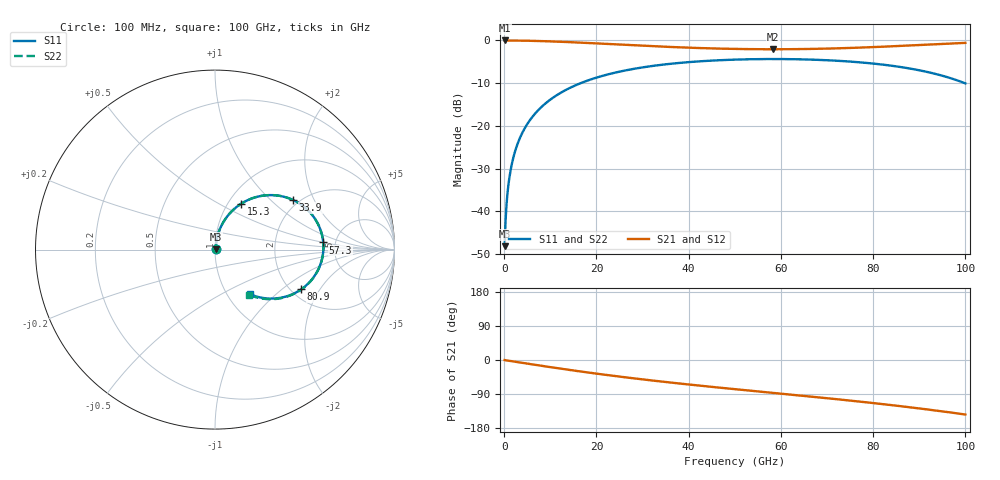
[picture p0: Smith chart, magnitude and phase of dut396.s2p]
! Touchstone file exported from HFSS 2026.1.0
!  File:  C:/ffzhzh/LocalFiles/Ansys_Project_Files/temp_train_RDL_396_1783503966_44152.aedt
!  Generated:  05:47:20 PM Jul  8, 2026
!  Design:  RDL
!  Project:  temp_train_RDL_396_1783503966_44152
! Variables:
!  h_bsmrdl = 2um
!  h_ox = 20um
!  h_rdl = 5um
!  h_sub = 80um
!  h_tmrdl = 2.64um
!  h_tsv = 80um
!  h_via = 3um
!  l_bsmrdl = 300um
!  l_sub = 878.44um
!  l_tmrdl = 478.44um
!  m_sub = 200um
!  pitch = 53.93um
!  r_tsv = 6um
!  s_tmrdl = 10um
!  w_bsmrdl = 18um
!  w_sub = 500um
!  w_tmrdl = 21.93um
!  x_tsv_center1 = 489.405um
!  x_tsv_center2 = 807.405um
!  x_tsv_center3 = 1307.775um
!  x_tsv_center4 = 1625.775um
!  x_tsv_center5 = 2126.145um
!  x_tsv_center6 = 2444.145um
# GHz S MA R 50.000000
! Terminal data exported
! Port[1] = TM_RDL1_1_T1
! Port[2] = TM_RDL1_1_T2
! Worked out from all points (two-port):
!   1000 points, 100 MHz to 100 GHz, reference 50 ohm
!   highest |S21| = -0.03 dB at 100 MHz (marker M1); lowest = -2.1 dB at 58.3 GHz (marker M2)
!   |S21| within 3 dB of the highest: start of sweep to end of sweep
!   lowest |S11| = -48.1 dB at 100 MHz (marker M3), VSWR 1.01, Z = 50.3 + j0.231 ohm
!   |S11| at or under -10 dB: start of sweep to 16.62 GHz; 99.82374 GHz to end of sweep
!   |S22| runs from -48.1 to -4.4 dB; largest |S21 - S12| = 3.3e-14
!   S11 on the Smith chart (normalised r, x): 100 MHz: 1.01, +0.00; 15.3 GHz: 1.15, +0.65; 33.9 GHz: 1.86, +1.40; 57.3 GHz: 3.99, +0.50; 80.9 GHz: 2.26, -1.39; 100 GHz: 1.26, -0.69
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0.1  0.00392 35.9  0.9968 -0.2  0.9968 -0.2  0.00392 35.9
! Gamma 0 0 0 0
! Port Impedance 50 0 50 0
0.9  0.0199 76.8  0.9959 -1.8  0.9959 -1.8  0.0199 76.8
1.4  0.03024 79.4  0.9954 -2.7  0.9954 -2.7  0.03024 79.4
2.4  0.05106 80.5  0.9943 -4.6  0.9943 -4.6  0.05106 80.5
3.8  0.08011 79.3  0.9921 -7.3  0.9921 -7.3  0.08011 79.3
5.8  0.1209 76.4  0.9874 -11.1  0.9874 -11.1  0.1209 76.4
8.3  0.1703 72.2  0.9792 -15.7  0.9792 -15.7  0.1703 72.2
11.5  0.2301 66.7  0.9659 -21.5  0.9659 -21.5  0.2301 66.7
15.3  0.2952 60.2  0.947 -28.2  0.947 -28.2  0.2952 60.2
16.8  0.3191 57.7  0.9389 -30.7  0.9389 -30.7  0.3191 57.7
24.7  0.4268 45.3  0.8944 -43.3  0.8944 -43.3  0.4268 45.3
33.4  0.512 33.0  0.8486 -55.9  0.8486 -55.9  0.5121 33.0
33.9  0.516 32.3  0.8463 -56.6  0.8463 -56.6  0.516 32.3
42.1  0.567 21.8  0.8135 -67.3  0.8135 -67.3  0.567 21.8
50.1  0.5951 12.2  0.7936 -77.1  0.7936 -77.1  0.5952 12.1
57.3  0.6044 3.8  0.7867 -85.6  0.7867 -85.6  0.6045 3.7
58.3  0.6046 2.6  0.7866 -86.8  0.7866 -86.8  0.6047 2.6
66.7  0.5948 -7.2  0.7938 -96.8  0.7938 -96.8  0.5949 -7.3
80.9  0.5289 -24.7  0.8372 -114.8  0.8372 -114.8  0.5291 -25.0
83.4  0.5098 -28.0  0.8484 -118.2  0.8484 -118.2  0.51 -28.3
92.1  0.4225 -40.2  0.8928 -131.0  0.8928 -131.0  0.4226 -40.8
100  0.3135 -52.1  0.9339 -143.9  0.9339 -143.9  0.3135 -53.2
